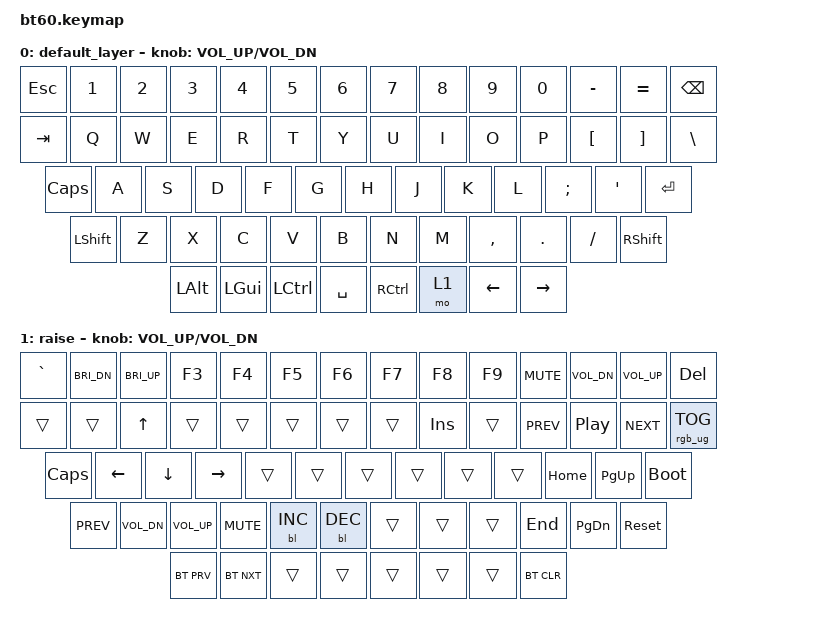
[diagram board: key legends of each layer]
#include <behaviors.dtsi>
#include <dt-bindings/zmk/keys.h>
#include <dt-bindings/zmk/bt.h>
#include <dt-bindings/zmk/rgb.h>
#include <dt-bindings/zmk/backlight.h>

/ {
	keymap {
		compatible = "zmk,keymap";

		default_layer {
				// ------------------------------------------------------------------------------------------
				// |  `  |  1  |  2  |  3  |  4  |  5  |  6  |  7  |  8  |  9  |  0  |  -  |  =  |   BKSP
				// | TAB  |  Q  |  W  |  E  |  R  |  T  |  Y  |  U  |  I  |  O  |  P  |  [  |  ]  |   |
				// | CAPS  |  A  |  S  |  D  |  F  |  G  |  H  |  J  |  K  |  L  |  ;  |  '  |     ENTER
				// |  SHIFT    |  Z  |  X  |  C  |  V  |  B  |  N  |  M  |  ,  |  .  | /   |      SHIFT
				// |  CTL  |  WIN  |  ALT  |            SPACE               | ALT | 1    |  MENU    |  CTRL
				// ------------------------------------------------------------------------------------------
			bindings = <

				&kp ESC &kp N1 &kp N2 &kp N3 &kp N4 &kp N5 &kp N6 &kp N7 &kp  N8   &kp  N9 &kp  N0  &kp MINUS &kp EQUAL &kp BSPC
				&kp TAB  &kp Q  &kp W  &kp E  &kp R  &kp T  &kp Y  &kp U  &kp  I    &kp  O  &kp  P   &kp LBKT &kp RBKT   &kp BSLH
				&kp CAPS  &kp A  &kp S  &kp D  &kp F  &kp G  &kp H  &kp J  &kp  K    &kp  L  &kp SEMI &kp SQT            &kp RET
				&kp LSHFT  &kp Z  &kp X  &kp C  &kp V  &kp B  &kp N  &kp M  &kp COMMA &kp DOT &kp FSLH                   &kp RSHFT
				&kp LALT &kp LGUI &kp LCTRL            &kp SPACE                          &kp RCTRL  &mo 1 &kp LEFT    &kp RIGHT
			>;
			sensor-bindings = <&inc_dec_kp C_VOL_UP C_VOL_DN>;
		};
		raise {
			bindings = <
				&kp GRAVE &kp C_BRI_DN &kp C_BRI_UP &kp F3 &kp F4 &kp F5 &kp F6 &kp F7 &kp F8 &kp F9 &kp C_MUTE &kp C_VOL_DN &kp C_VOL_UP &kp DEL
				&trans &trans &kp UP &trans &trans &trans &trans &trans &kp INS &trans &kp C_PREV &kp C_PP &kp C_NEXT &rgb_ug RGB_TOG
				&kp CAPS    &kp LEFT &kp DOWN &kp RIGHT &trans &trans &trans &trans &trans &trans &kp HOME  &kp PG_UP   &bootloader
				&kp C_PREV &kp C_VOL_DN &kp C_VOL_UP &kp C_MUTE &bl BL_INC &bl BL_DEC &trans &trans &trans &kp END &kp PG_DN  &sys_reset
				&bt BT_PRV &bt BT_NXT  &trans              &trans                            &trans   &trans   &trans &bt BT_CLR
			>;
			sensor-bindings = <&inc_dec_kp C_VOL_UP C_VOL_DN>;
		};
	};
};
